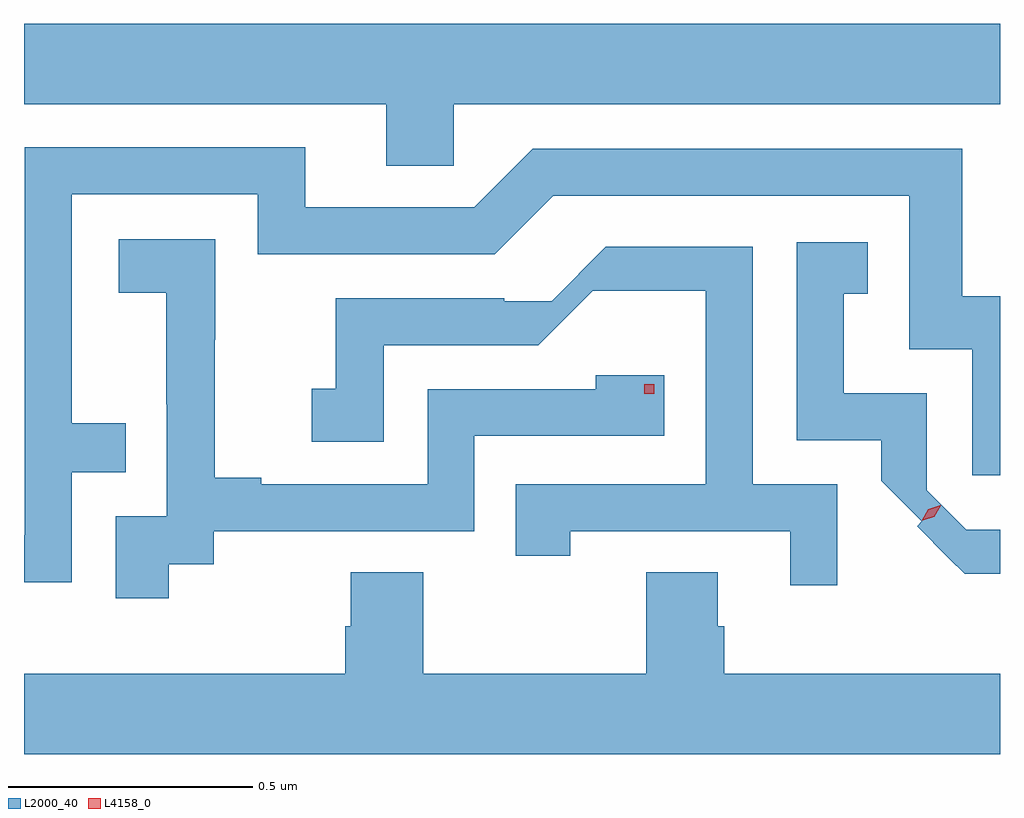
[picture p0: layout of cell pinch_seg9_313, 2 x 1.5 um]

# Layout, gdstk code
import gdstk
lib = gdstk.Library(unit=1e-6, precision=1e-09)
def R(c, l, rs):  # rectangles x0, y0, x1, y1
    for r in rs: c.add(gdstk.rectangle(r[:2], r[2:], *l))
def P(c, l, *ps):  # polygons
    for p in ps: c.add(gdstk.Polygon(p, *l))
L2000_40 = (2000, 40)
L4158_0 = (4158, 0)

pinch_seg9_313 = lib.new_cell('pinch_seg9_313')
P(pinch_seg9_313, L2000_40, [(510.99,1189.76),(512.109,1189.76),(512.109,1189.924),(510.109,1189.924),(510.109,1189.76),(510.851,1189.76),(510.851,1189.633),(510.99,1189.633)],
  [(510.207,1189.005),(510.317,1189.005),(510.317,1189.106),(510.207,1189.106),(510.207,1189.575),(510.588,1189.575),(510.588,1189.452),(511.074,1189.452),(511.194,1189.572),(511.923,1189.572),(511.923,1189.257),(512.052,1189.257),(512.052,1188.999),(512.109,1188.999),(512.109,1189.366),(512.032,1189.366),(512.032,1189.668),(511.152,1189.668),(511.032,1189.548),(510.685,1189.548),(510.685,1189.671),(510.111,1189.671),(510.111,1188.876),(510.109,1188.876),(510.109,1188.78),(510.207,1188.78)],
  [(510.406,1188.817),(510.498,1188.817),(510.498,1188.885),(511.032,1188.885),(511.032,1189.08),(511.421,1189.08),(511.421,1189.204),(511.281,1189.204),(511.281,1189.176),(510.936,1189.176),(510.936,1188.981),(510.595,1188.981),(510.595,1188.994),(510.5,1188.994),(510.5,1189.277),(510.501,1189.277),(510.501,1189.483),(510.303,1189.483),(510.303,1189.373),(510.401,1189.373),(510.401,1189.145),(510.402,1189.145),(510.402,1188.915),(510.297,1188.915),(510.297,1188.747),(510.406,1188.747)],
  [(512.109,1188.888),(512.04,1188.888),(511.959,1188.969),(511.959,1189.167),(511.789,1189.167),(511.789,1189.371),(511.838,1189.371),(511.838,1189.477),(511.692,1189.477),(511.692,1189.071),(511.866,1189.071),(511.866,1188.988),(511.949,1188.905),(511.939,1188.895),(512.005,1188.828),(512.037,1188.797),(512.109,1188.797)],
  [(511.776,1188.981),(511.602,1188.981),(511.602,1189.467),(511.301,1189.467),(511.19,1189.356),(511.093,1189.356),(511.093,1189.362),(510.748,1189.362),(510.748,1189.177),(510.699,1189.177),(510.699,1189.068),(510.846,1189.068),(510.846,1189.266),(511.163,1189.266),(511.274,1189.377),(511.506,1189.377),(511.506,1188.981),(511.117,1188.981),(511.117,1188.834),(511.228,1188.834),(511.228,1188.885),(511.679,1188.885),(511.679,1188.774),(511.776,1188.774)],
  [(512.109,1188.592),(511.544,1188.592),(511.544,1188.69),(511.531,1188.69),(511.531,1188.8),(511.384,1188.8),(511.384,1188.592),(510.927,1188.592),(510.927,1188.8),(510.779,1188.8),(510.779,1188.69),(510.767,1188.69),(510.767,1188.592),(510.109,1188.592),(510.109,1188.428),(512.109,1188.428)])
R(pinch_seg9_313, L4158_0, [(511.38,1189.166,511.4,1189.186)])
P(pinch_seg9_313, L4158_0, [(511.949,1188.906),(511.949,1188.906),(511.962,1188.93),(511.987,1188.938),(511.988,1188.938),(511.988,1188.937),(511.974,1188.914),(511.949,1188.906)])

lib.write_gds('pinch_seg9_313.gds')
